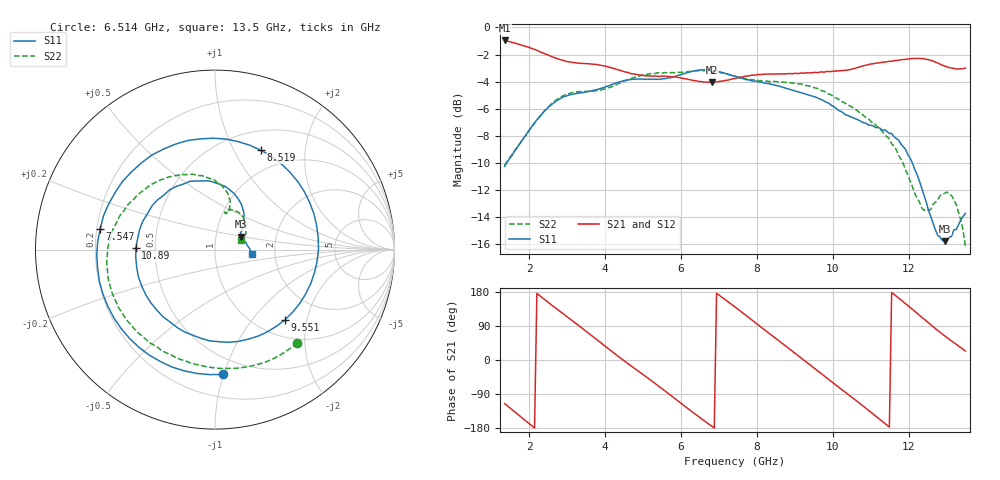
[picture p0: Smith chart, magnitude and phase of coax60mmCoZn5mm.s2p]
!Agilent Technologies,N5230C,MY48100320,A.08.04.10
!Agilent N5230C: A.08.04.10
!Date: Thursday, August 04, 2016 04:09:42
!Correction: S11(Full 2 Port(1,2))
!S21(Full 2 Port(1,2))
!S12(Full 2 Port(1,2))
!S22(Full 2 Port(1,2))
!S2P File: Measurements: S11, S21, S12, S22:
# Hz S  dB  R 50
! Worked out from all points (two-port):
!   201 points, 1.35 GHz to 13.5 GHz, reference 50 ohm
!   highest |S21| = -0.96 dB at 1.35 GHz (marker M1); lowest = -4.1 dB at 6.818 GHz (marker M2)
!   |S21| within 3 dB of the highest: start of sweep to 6.417 GHz; 7.109 GHz to end of sweep
!   lowest |S11| = -15.8 dB at 12.95 GHz (marker M3), VSWR 1.39, Z = 66.2 + j9.76 ohm
!   |S11| at or under -10 dB: start of sweep to 1.408 GHz; 12.1 GHz to end of sweep
!   |S22| runs from -16.2 to -3.2 dB; largest |S21 - S12| = 0.0019
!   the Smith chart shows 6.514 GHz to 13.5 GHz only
!   S11 on the Smith chart (normalised r, x): 6.514 GHz: 0.37, -1.00; 7.547 GHz: 0.21, +0.08; 8.519 GHz: 0.73, +1.29; 9.551 GHz: 1.32, -1.49; 10.89 GHz: 0.39, +0.01; 13.5 GHz: 1.51, -0.09
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1.35027e9  -10.28 101.8  -0.96 -115.0  -0.96 -115.0  -10.21 -170.4
2.200751e9  -6.83 8.1  -1.69 175.7  -1.68 175.7  -6.84 147.8
2.747489e9  -5.37 -46.9  -2.31 133.0  -2.32 133.1  -5.29 119.6
3.415724e9  -4.81 -115.5  -2.65 82.3  -2.65 82.4  -4.75 87.5
4.144708e9  -4.25 160.0  -2.96 25.0  -2.97 25.0  -4.41 58.5
4.812943e9  -3.82 93.6  -3.47 -24.9  -3.48 -24.8  -3.66 26.5
5.42043e9  -3.84 34.0  -3.63 -69.4  -3.61 -69.3  -3.34 -3.6
5.906419e9  -3.56 -20.9  -3.68 -106.9  -3.68 -106.9  -3.32 -24.2
6.513905e9  -3.14 -86.3  -4.00 -153.0  -4.01 -152.9  -3.21 -48.5
6.817648e9  -3.18 -116.2  -4.05 -175.2  -4.06 -175.2  -3.24 -61.8
7.425135e9  -3.61 -177.3  -3.78 139.9  -3.78 139.9  -3.60 -88.7
7.546632e9  -3.74 169.8  -3.68 130.7  -3.68 130.7  -3.67 -94.2
8.09337e9  -4.05 110.4  -3.48 88.2  -3.48 88.3  -3.93 -117.6
8.518611e9  -4.29 65.1  -3.43 55.4  -3.44 55.4  -4.01 -135.7
9.490589e9  -5.10 -38.9  -3.32 -19.6  -3.33 -19.6  -4.44 -177.7
9.551338e9  -5.15 -45.1  -3.32 -24.2  -3.33 -24.2  -4.47 179.6
1.015882e10  -6.14 -104.3  -3.21 -71.7  -3.21 -71.7  -5.32 151.3
1.088781e10  -7.10 178.9  -2.78 -128.2  -2.79 -128.1  -6.68 116.7
1.149529e10  -7.85 115.2  -2.50 -177.0  -2.51 -176.9  -8.23 90.5
1.234578e10  -11.88 50.3  -2.30 113.4  -2.30 113.5  -13.34 71.9
1.295326e10  -15.80 26.3  -2.86 63.7  -2.85 63.8  -12.27 62.4
1.35e10  -13.75 -7.6  -3.01 23.8  -3.02 23.9  -16.18 20.2
